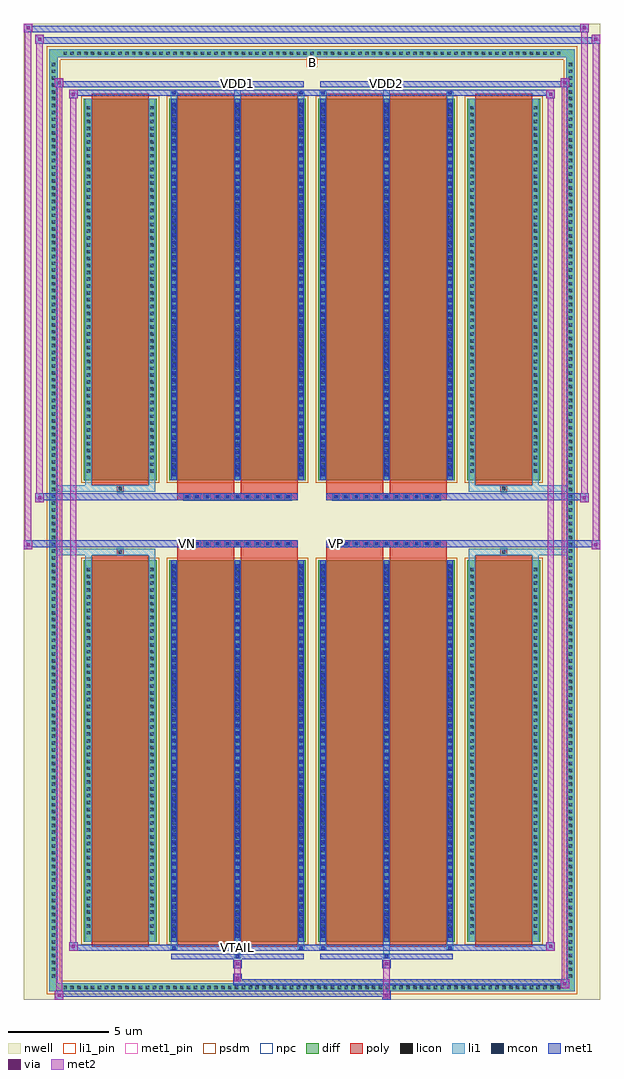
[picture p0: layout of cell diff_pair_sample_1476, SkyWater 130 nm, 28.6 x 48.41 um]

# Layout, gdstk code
import gdstk
lib = gdstk.Library(unit=1e-6, precision=5e-09)
def R(c, l, rs):  # rectangles x0, y0, x1, y1
    for r in rs: c.add(gdstk.rectangle(r[:2], r[2:], *l))
def A(c, l, x, y, w, h, nx, ny, dx, dy):  # array of equal rectangles
    R(c, l, [(x+i*dx, y+j*dy, x+i*dx+w, y+j*dy+h) for i in range(nx) for j in range(ny)])
def P(c, l, *ps):  # polygons
    for p in ps: c.add(gdstk.Polygon(p, *l))
nwell = (64, 20)
diff = (65, 20)
poly = (66, 20)
licon = (66, 44)
li1_pin = (67, 16)
li1 = (67, 20)
mcon = (67, 44)
met1_pin = (68, 16)
met1 = (68, 20)
via = (68, 44)
met2 = (69, 20)
psdm = (94, 20)
npc = (95, 20)

diff_pair_sample_1476 = lib.new_cell('diff_pair_sample_1476')
R(diff_pair_sample_1476, nwell, [(-14.3,-23.77,14.3,24.64), (-11.62,-21.96,-0.01,-0.8), (0.01,-21.96,11.62,-0.8), (-11.62,0.8,-0.01,21.96), (0.01,0.8,11.62,21.96)])
A(diff_pair_sample_1476, diff, -12.445, -23.37, 0.41, 0.41, 73, 2, 0.34, 46.33)
A(diff_pair_sample_1476, diff, -13.03, -22.815, 0.41, 0.41, 1, 134, 0, 0.34)
A(diff_pair_sample_1476, diff, 12.62, -22.815, 0.41, 0.41, 1, 134, 0, 0.34)
R(diff_pair_sample_1476, diff, [(-12.445,-23.37,12.445,-22.96), (-13.03,-22.815,-12.62,22.815), (12.62,-22.815,13.03,22.815), (-11.31,-20.915,-7.71,-1.985), (-7.07,-20.915,-0.32,-1.985), (0.32,-20.915,7.07,-1.985), (7.71,-20.915,11.31,-1.985), (-11.31,1.985,-7.71,20.915), (-7.07,1.985,-0.32,20.915), (0.32,1.985,7.07,20.915), (7.71,1.985,11.31,20.915), (-12.445,22.96,12.445,23.37)])
P(diff_pair_sample_1476, diff, [(13.03,23.37),(-13.03,23.37),(-13.03,-22.96),(-12.62,-22.96),(-12.62,22.96),(12.62,22.96),(12.62,-22.96),(-12.62,-22.96),(-13.03,-22.96),(-13.03,-23.37),(13.03,-23.37)])
A(diff_pair_sample_1476, poly, -6.36, -1.33, 0.33, 0.33, 11, 2, 0.5, 2.33)
A(diff_pair_sample_1476, poly, 1.03, -1.33, 0.33, 0.33, 11, 2, 0.5, 2.33)
R(diff_pair_sample_1476, poly, [(-10.92,-21.165,-8.1,-1.735), (-6.68,-21.165,-3.86,-1.735), (-3.53,-21.165,-0.71,-1.735), (0.71,-21.165,3.53,-1.735), (3.86,-21.165,6.68,-1.735), (8.1,-21.165,10.92,-1.735), (-9.675,-1.735,-9.345,-1.405), (-9.675,-1.735,-9.345,-1.405), (-6.68,-1.735,-3.86,-1.33), (-3.53,-1.735,-0.71,-1.33), (0.71,-1.735,3.53,-1.33), (3.86,-1.735,6.68,-1.33), (9.345,-1.735,9.675,-1.405), (9.345,-1.735,9.675,-1.405), (-6.68,-1.33,-0.71,-1), (0.71,-1.33,6.68,-1), (-6.68,1,-0.71,1.33), (0.71,1,6.68,1.33), (-6.68,1.33,-3.86,1.735), (-3.53,1.33,-0.71,1.735), (0.71,1.33,3.53,1.735), (3.86,1.33,6.68,1.735), (-9.675,1.405,-9.345,1.735), (-9.675,1.405,-9.345,1.735), (9.345,1.405,9.675,1.735), (9.345,1.405,9.675,1.735), (-10.92,1.735,-8.1,21.165), (-6.68,1.735,-3.86,21.165), (-3.53,1.735,-0.71,21.165), (0.71,1.735,3.53,21.165), (3.86,1.735,6.68,21.165), (8.1,1.735,10.92,21.165)])
A(diff_pair_sample_1476, licon, -12.325, -23.25, 0.17, 0.17, 73, 2, 0.34, 46.33)
A(diff_pair_sample_1476, licon, -12.91, -22.695, 0.17, 0.17, 1, 134, 0, 0.34)
A(diff_pair_sample_1476, licon, 12.74, -22.695, 0.17, 0.17, 1, 134, 0, 0.34)
A(diff_pair_sample_1476, licon, -11.17, -20.545, 0.17, 0.17, 1, 54, 0, 0.34)
A(diff_pair_sample_1476, licon, -8.02, -20.545, 0.17, 0.17, 1, 54, 0, 0.34)
A(diff_pair_sample_1476, licon, -6.93, -20.545, 0.17, 0.17, 3, 54, 3.15, 0.34)
A(diff_pair_sample_1476, licon, 0.46, -20.545, 0.17, 0.17, 3, 54, 3.15, 0.34)
A(diff_pair_sample_1476, licon, 7.85, -20.545, 0.17, 0.17, 1, 54, 0, 0.34)
A(diff_pair_sample_1476, licon, 11, -20.545, 0.17, 0.17, 1, 54, 0, 0.34)
A(diff_pair_sample_1476, licon, -6.28, -1.25, 0.17, 0.17, 11, 2, 0.5, 2.33)
A(diff_pair_sample_1476, licon, 1.11, -1.25, 0.17, 0.17, 11, 2, 0.5, 2.33)
A(diff_pair_sample_1476, licon, -11.17, 2.355, 0.17, 0.17, 1, 54, 0, 0.34)
A(diff_pair_sample_1476, licon, -8.02, 2.355, 0.17, 0.17, 1, 54, 0, 0.34)
A(diff_pair_sample_1476, licon, -6.93, 2.355, 0.17, 0.17, 3, 54, 3.15, 0.34)
A(diff_pair_sample_1476, licon, 0.46, 2.355, 0.17, 0.17, 3, 54, 3.15, 0.34)
A(diff_pair_sample_1476, licon, 7.85, 2.355, 0.17, 0.17, 1, 54, 0, 0.34)
A(diff_pair_sample_1476, licon, 11, 2.355, 0.17, 0.17, 1, 54, 0, 0.34)
R(diff_pair_sample_1476, licon, [(-9.595,-1.655,-9.425,-1.485), (9.425,-1.655,9.595,-1.485), (-9.595,1.485,-9.425,1.655), (9.425,1.485,9.595,1.655)])
R(diff_pair_sample_1476, li1_pin, [(-0.25,22.46,0.25,22.96)])
A(diff_pair_sample_1476, li1, -12.405, -23.33, 0.33, 0.33, 73, 2, 0.34, 46.33)
A(diff_pair_sample_1476, li1, -12.99, -22.775, 0.33, 0.33, 1, 134, 0, 0.34)
A(diff_pair_sample_1476, li1, 12.66, -22.775, 0.33, 0.33, 1, 134, 0, 0.34)
A(diff_pair_sample_1476, li1, -7.01, -20.915, 0.33, 18.93, 3, 2, 3.15, 22.9)
A(diff_pair_sample_1476, li1, 0.38, -20.915, 0.33, 18.93, 3, 2, 3.15, 22.9)
A(diff_pair_sample_1476, li1, -6.93, -20.715, 0.17, 0.17, 3, 52, 3.15, 0.36)
A(diff_pair_sample_1476, li1, -6.93, -20.715, 0.17, 18.53, 3, 2, 3.15, 22.9)
A(diff_pair_sample_1476, li1, 0.46, -20.715, 0.17, 0.17, 3, 52, 3.15, 0.36)
A(diff_pair_sample_1476, li1, 0.46, -20.715, 0.17, 18.53, 3, 2, 3.15, 22.9)
A(diff_pair_sample_1476, li1, -11.25, -20.625, 0.33, 0.33, 1, 54, 0, 0.34)
A(diff_pair_sample_1476, li1, -8.1, -20.625, 0.33, 0.33, 1, 54, 0, 0.34)
A(diff_pair_sample_1476, li1, -7.01, -20.625, 0.33, 0.33, 3, 54, 3.15, 0.34)
A(diff_pair_sample_1476, li1, 0.38, -20.625, 0.33, 0.33, 3, 54, 3.15, 0.34)
A(diff_pair_sample_1476, li1, 7.77, -20.625, 0.33, 0.33, 1, 54, 0, 0.34)
A(diff_pair_sample_1476, li1, 10.92, -20.625, 0.33, 0.33, 1, 54, 0, 0.34)
A(diff_pair_sample_1476, li1, -6.36, -1.33, 0.33, 0.33, 11, 2, 0.5, 2.33)
A(diff_pair_sample_1476, li1, 1.03, -1.33, 0.33, 0.33, 11, 2, 0.5, 2.33)
A(diff_pair_sample_1476, li1, -6.93, 2.185, 0.17, 0.17, 3, 52, 3.15, 0.36)
A(diff_pair_sample_1476, li1, 0.46, 2.185, 0.17, 0.17, 3, 52, 3.15, 0.36)
A(diff_pair_sample_1476, li1, -11.25, 2.275, 0.33, 0.33, 1, 54, 0, 0.34)
A(diff_pair_sample_1476, li1, -8.1, 2.275, 0.33, 0.33, 1, 54, 0, 0.34)
A(diff_pair_sample_1476, li1, -7.01, 2.275, 0.33, 0.33, 3, 54, 3.15, 0.34)
A(diff_pair_sample_1476, li1, 0.38, 2.275, 0.33, 0.33, 3, 54, 3.15, 0.34)
A(diff_pair_sample_1476, li1, 7.77, 2.275, 0.33, 0.33, 1, 54, 0, 0.34)
A(diff_pair_sample_1476, li1, 10.92, 2.275, 0.33, 0.33, 1, 54, 0, 0.34)
R(diff_pair_sample_1476, li1, [(-13.03,-23.37,-12.62,-22.96), (-13.03,-23.37,-12.62,-22.96), (-12.62,-23.37,12.62,-22.96), (12.62,-23.37,13.03,-22.96), (12.62,-23.37,13.03,-22.96), (-13.03,-22.96,-12.62,22.96), (12.62,-22.96,13.03,22.96), (-3.86,-21.72,-3.53,-20.915), (-3.78,-21.72,-3.61,-21.55), (3.53,-21.72,3.86,-20.915), (3.61,-21.72,3.78,-21.55), (-7.01,-21.29,-6.68,-20.915), (-6.93,-21.29,-6.76,-21.12), (-0.71,-21.29,-0.38,-20.915), (-0.63,-21.29,-0.46,-21.12), (0.38,-21.29,0.71,-20.915), (0.46,-21.29,0.63,-21.12), (6.68,-21.29,7.01,-20.915), (6.76,-21.29,6.93,-21.12), (-11.25,-20.915,-10.92,-1.985), (-8.1,-20.915,-7.77,-1.985), (7.77,-20.915,8.1,-1.985), (10.92,-20.915,11.25,-1.985), (-11.25,-1.985,-10.92,-1.405), (-8.1,-1.985,-7.77,-1.405), (7.77,-1.985,8.1,-1.405), (10.92,-1.985,11.25,-1.405), (-13.03,-1.735,-9.675,-1.405), (-11.25,-1.735,-9.675,-1.405), (-9.675,-1.735,-9.345,-1.405), (-9.345,-1.735,-7.77,-1.405), (7.77,-1.735,9.345,-1.405), (9.345,-1.735,9.675,-1.405), (9.345,-1.735,13.03,-1.405), (9.675,-1.735,11.25,-1.405), (-13.03,1.405,-9.675,1.735), (-11.25,1.405,-9.675,1.735), (-11.25,1.405,-10.92,1.985), (-9.675,1.405,-9.345,1.735), (-9.345,1.405,-7.77,1.735), (-8.1,1.405,-7.77,1.985), (7.77,1.405,9.345,1.735), (7.77,1.405,8.1,1.985), (9.345,1.405,9.675,1.735), (9.345,1.405,13.03,1.735), (9.675,1.405,11.25,1.735), (10.92,1.405,11.25,1.985), (-11.25,1.985,-10.92,20.915), (-8.1,1.985,-7.77,20.915), (7.77,1.985,8.1,20.915), (10.92,1.985,11.25,20.915), (-7.01,20.915,-6.68,21.29), (-3.86,20.915,-3.53,21.72), (-0.71,20.915,-0.38,21.29), (0.38,20.915,0.71,21.29), (3.53,20.915,3.86,21.72), (6.68,20.915,7.01,21.29), (-6.93,21.12,-6.76,21.29), (-0.63,21.12,-0.46,21.29), (0.46,21.12,0.63,21.29), (6.76,21.12,6.93,21.29), (-3.78,21.55,-3.61,21.72), (3.61,21.55,3.78,21.72), (-13.03,22.96,-12.62,23.37), (-13.03,22.96,-12.62,23.37), (-12.62,22.96,12.62,23.37), (12.62,22.96,13.03,23.37), (12.62,22.96,13.03,23.37)])
A(diff_pair_sample_1476, mcon, -6.93, -20.715, 0.17, 0.17, 3, 52, 3.15, 0.36)
A(diff_pair_sample_1476, mcon, 0.46, -20.715, 0.17, 0.17, 3, 52, 3.15, 0.36)
A(diff_pair_sample_1476, mcon, -6.28, -1.25, 0.17, 0.17, 11, 2, 0.5, 2.33)
A(diff_pair_sample_1476, mcon, 1.11, -1.25, 0.17, 0.17, 11, 2, 0.5, 2.33)
A(diff_pair_sample_1476, mcon, -6.93, 2.185, 0.17, 0.17, 3, 52, 3.15, 0.36)
A(diff_pair_sample_1476, mcon, 0.46, 2.185, 0.17, 0.17, 3, 52, 3.15, 0.36)
R(diff_pair_sample_1476, mcon, [(-3.78,-21.72,-3.61,-21.55), (3.61,-21.72,3.78,-21.55), (-6.93,-21.29,-6.76,-21.12), (-0.63,-21.29,-0.46,-21.12), (0.46,-21.29,0.63,-21.12), (6.76,-21.29,6.93,-21.12), (-6.93,21.12,-6.76,21.29), (-0.63,21.12,-0.46,21.29), (0.46,21.12,0.63,21.29), (6.76,21.12,6.93,21.29), (-3.78,21.55,-3.61,21.72), (3.61,21.55,3.78,21.72)])
R(diff_pair_sample_1476, met1_pin, [(-3.83,-21.33,-3.56,-21.06), (-6.33,-1.29,-6.06,-1.02), (1.06,-1.29,1.33,-1.02), (-3.83,21.51,-3.56,21.78), (3.56,21.51,3.83,21.78)])
A(diff_pair_sample_1476, met1, -6.99, -20.915, 0.29, 18.93, 3, 2, 3.15, 22.9)
A(diff_pair_sample_1476, met1, 0.4, -20.915, 0.29, 18.93, 3, 2, 3.15, 22.9)
A(diff_pair_sample_1476, met1, -6.99, -20.775, 0.29, 0.29, 3, 52, 3.15, 0.36)
A(diff_pair_sample_1476, met1, 0.4, -20.775, 0.29, 0.29, 3, 52, 3.15, 0.36)
A(diff_pair_sample_1476, met1, -6.34, -1.31, 0.29, 0.29, 11, 2, 0.5, 2.33)
A(diff_pair_sample_1476, met1, 1.05, -1.31, 0.29, 0.29, 11, 2, 0.5, 2.33)
A(diff_pair_sample_1476, met1, -6.99, 2.125, 0.29, 0.29, 3, 52, 3.15, 0.36)
A(diff_pair_sample_1476, met1, 0.4, 2.125, 0.29, 0.29, 3, 52, 3.15, 0.36)
R(diff_pair_sample_1476, met1, [(-12.76,-23.77,-12.33,-23.34), (3.48,-23.77,3.91,-23.34), (-12.76,-23.63,3.91,-23.34), (12.33,-23.2,12.76,-22.77), (-3.91,-23.06,12.76,-22.77), (-3.91,-22.92,-3.48,-22.49), (-3.91,-22.21,-3.48,-21.78), (3.48,-22.21,3.91,-21.78), (-6.99,-21.78,-0.4,-21.49), (-3.84,-21.78,-3.55,-21.49), (0.4,-21.78,6.99,-21.49), (3.55,-21.78,3.84,-21.49), (-12.05,-21.35,-11.62,-20.92), (-12.05,-21.35,-6.99,-21.06), (-6.99,-21.35,-6.7,-21.06), (-6.99,-21.35,-0.4,-21.06), (-0.69,-21.35,-0.4,-21.06), (-0.4,-21.35,0.4,-21.06), (0.4,-21.35,0.69,-21.06), (0.4,-21.35,6.99,-21.06), (6.7,-21.35,6.99,-21.06), (6.99,-21.35,12.05,-21.06), (11.62,-21.35,12.05,-20.92), (-14.3,-1.43,-13.87,-1), (13.87,-1.43,14.3,-1), (-14.3,-1.33,-0.71,-1), (-6.68,-1.33,-0.71,-1), (0.71,-1.33,6.68,-1), (0.71,-1.33,14.3,-1), (-13.73,0.9,-13.3,1.33), (13.3,0.9,13.73,1.33), (-13.73,1,-6.68,1.33), (-6.68,1,-0.71,1.33), (0.71,1,6.68,1.33), (6.68,1,13.73,1.33), (-12.05,20.92,-11.62,21.35), (11.62,20.92,12.05,21.35), (-12.05,21.06,-6.99,21.35), (-6.99,21.06,-6.7,21.35), (-6.99,21.06,-0.4,21.35), (-0.69,21.06,-0.4,21.35), (-0.4,21.06,0.4,21.35), (0.4,21.06,0.69,21.35), (0.4,21.06,6.99,21.35), (6.7,21.06,6.99,21.35), (6.99,21.06,12.05,21.35), (-12.76,21.49,-12.33,21.92), (-12.76,21.49,-6.99,21.78), (-6.99,21.49,-0.4,21.78), (-3.84,21.49,-3.55,21.78), (0.4,21.49,6.99,21.78), (3.55,21.49,3.84,21.78), (6.99,21.49,12.76,21.78), (12.33,21.49,12.76,21.92), (-13.73,23.64,-13.3,24.07), (-13.73,23.64,-11.62,23.97), (-11.62,23.64,11.62,23.97), (11.62,23.64,14.3,23.97), (13.87,23.64,14.3,24.07), (-14.3,24.21,-13.87,24.64), (-14.3,24.21,-11.62,24.54), (-11.62,24.21,11.62,24.54), (11.62,24.21,13.73,24.54), (13.3,24.21,13.73,24.64)])
R(diff_pair_sample_1476, via, [(-12.62,-23.63,-12.47,-23.48), (3.62,-23.63,3.77,-23.48), (12.47,-23.06,12.62,-22.91), (-3.77,-22.78,-3.62,-22.63), (-3.77,-22.07,-3.62,-21.92), (3.62,-22.07,3.77,-21.92), (-11.91,-21.21,-11.76,-21.06), (11.76,-21.21,11.91,-21.06), (-14.16,-1.29,-14.01,-1.14), (14.01,-1.29,14.16,-1.14), (-13.59,1.04,-13.44,1.19), (13.44,1.04,13.59,1.19), (-11.91,21.06,-11.76,21.21), (11.76,21.06,11.91,21.21), (-12.62,21.63,-12.47,21.78), (12.47,21.63,12.62,21.78), (-13.59,23.78,-13.44,23.93), (14.01,23.78,14.16,23.93), (-14.16,24.35,-14.01,24.5), (13.44,24.35,13.59,24.5)])
R(diff_pair_sample_1476, met2, [(-12.76,-23.77,-12.33,-23.34), (-12.69,-23.77,-12.4,21.92), (-12.4,-23.77,-12.33,-23.34), (-12.71,-23.72,-12.38,-23.39), (3.53,-23.72,3.86,-23.39), (3.53,-23.39,3.86,-22.16), (12.33,-23.2,12.76,-22.77), (12.4,-23.2,12.69,21.92), (12.69,-23.2,12.76,-22.77), (12.38,-23.15,12.71,-22.82), (-3.86,-22.87,-3.53,-22.54), (-3.86,-22.54,-3.53,-22.16), (-3.86,-22.16,-3.53,-21.83), (3.53,-22.16,3.86,-21.83), (-12.05,-21.35,-11.62,-20.92), (-11.98,-21.35,-11.69,21.35), (-11.69,-21.35,-11.62,-20.92), (11.62,-21.35,12.05,-20.92), (11.69,-21.35,11.98,21.35), (11.98,-21.35,12.05,-20.92), (-12,-21.3,-11.67,-20.97), (11.67,-21.3,12,-20.97), (-14.3,-1.43,-13.87,-1), (-14.25,-1.43,-13.92,24.64), (-13.92,-1.43,-13.87,-1), (13.87,-1.43,14.3,-1), (13.92,-1.43,14.25,24.07), (14.25,-1.43,14.3,-1), (-14.25,-1.38,-13.92,-1.05), (13.92,-1.38,14.25,-1.05), (-13.73,0.9,-13.3,1.33), (-13.68,0.9,-13.35,24.07), (-13.35,0.9,-13.3,1.33), (13.3,0.9,13.73,1.33), (13.35,0.9,13.68,24.64), (13.68,0.9,13.73,1.33), (-13.68,0.95,-13.35,1.28), (13.35,0.95,13.68,1.28), (-12.05,20.92,-11.62,21.35), (-11.69,20.92,-11.62,21.35), (11.62,20.92,12.05,21.35), (11.98,20.92,12.05,21.35), (-12,20.97,-11.67,21.3), (11.67,20.97,12,21.3), (-12.76,21.49,-12.33,21.92), (-12.4,21.49,-12.33,21.92), (12.33,21.49,12.76,21.92), (12.69,21.49,12.76,21.92), (-12.71,21.54,-12.38,21.87), (12.38,21.54,12.71,21.87), (-13.73,23.64,-13.3,24.07), (-13.35,23.64,-13.3,24.07), (13.87,23.64,14.3,24.07), (14.25,23.64,14.3,24.07), (-13.68,23.69,-13.35,24.02), (13.92,23.69,14.25,24.02), (-14.3,24.21,-13.87,24.64), (-13.92,24.21,-13.87,24.64), (13.3,24.21,13.73,24.64), (13.68,24.21,13.73,24.64), (-14.25,24.26,-13.92,24.59), (13.35,24.26,13.68,24.59)])
R(diff_pair_sample_1476, psdm, [(-11.44,-21.045,-7.58,-1.855), (-7.2,-21.045,-0.19,-1.855), (0.19,-21.045,7.2,-1.855), (7.58,-21.045,11.44,-1.855), (-11.44,1.855,-7.58,21.045), (-7.2,1.855,-0.19,21.045), (0.19,1.855,7.2,21.045), (7.58,1.855,11.44,21.045)])
P(diff_pair_sample_1476, psdm, [(13.16,23.5),(-13.16,23.5),(-13.16,-22.83),(-12.49,-22.83),(-12.49,22.83),(12.49,22.83),(12.49,-22.83),(-12.49,-22.83),(-13.16,-22.83),(-13.16,-23.5),(13.16,-23.5)])
A(diff_pair_sample_1476, npc, -6.38, -1.35, 0.37, 0.37, 11, 2, 0.5, 2.33)
A(diff_pair_sample_1476, npc, 1.01, -1.35, 0.37, 0.37, 11, 2, 0.5, 2.33)
R(diff_pair_sample_1476, npc, [(-9.695,-1.755,-9.325,-1.385), (9.325,-1.755,9.695,-1.385), (-6.38,-1.35,-5.51,-0.98), (-6.38,-1.35,-5.51,-0.98), (-5.88,-1.35,-5.01,-0.98), (-5.88,-1.35,-5.01,-0.98), (-5.38,-1.35,-4.51,-0.98), (-5.38,-1.35,-4.51,-0.98), (-4.88,-1.35,-4.01,-0.98), (-4.88,-1.35,-4.01,-0.98), (-4.38,-1.35,-3.51,-0.98), (-4.38,-1.35,-3.51,-0.98), (-3.88,-1.35,-3.01,-0.98), (-3.88,-1.35,-3.01,-0.98), (-3.38,-1.35,-2.51,-0.98), (-3.38,-1.35,-2.51,-0.98), (-2.88,-1.35,-2.01,-0.98), (-2.88,-1.35,-2.01,-0.98), (-2.38,-1.35,-1.51,-0.98), (-2.38,-1.35,-1.51,-0.98), (-1.88,-1.35,-1.01,-0.98), (-1.88,-1.35,-1.01,-0.98), (1.01,-1.35,1.88,-0.98), (1.01,-1.35,1.88,-0.98), (1.51,-1.35,2.38,-0.98), (1.51,-1.35,2.38,-0.98), (2.01,-1.35,2.88,-0.98), (2.01,-1.35,2.88,-0.98), (2.51,-1.35,3.38,-0.98), (2.51,-1.35,3.38,-0.98), (3.01,-1.35,3.88,-0.98), (3.01,-1.35,3.88,-0.98), (3.51,-1.35,4.38,-0.98), (3.51,-1.35,4.38,-0.98), (4.01,-1.35,4.88,-0.98), (4.01,-1.35,4.88,-0.98), (4.51,-1.35,5.38,-0.98), (4.51,-1.35,5.38,-0.98), (5.01,-1.35,5.88,-0.98), (5.01,-1.35,5.88,-0.98), (5.51,-1.35,6.38,-0.98), (5.51,-1.35,6.38,-0.98), (-6.38,0.98,-5.51,1.35), (-6.38,0.98,-5.51,1.35), (-5.88,0.98,-5.01,1.35), (-5.88,0.98,-5.01,1.35), (-5.38,0.98,-4.51,1.35), (-5.38,0.98,-4.51,1.35), (-4.88,0.98,-4.01,1.35), (-4.88,0.98,-4.01,1.35), (-4.38,0.98,-3.51,1.35), (-4.38,0.98,-3.51,1.35), (-3.88,0.98,-3.01,1.35), (-3.88,0.98,-3.01,1.35), (-3.38,0.98,-2.51,1.35), (-3.38,0.98,-2.51,1.35), (-2.88,0.98,-2.01,1.35), (-2.88,0.98,-2.01,1.35), (-2.38,0.98,-1.51,1.35), (-2.38,0.98,-1.51,1.35), (-1.88,0.98,-1.01,1.35), (-1.88,0.98,-1.01,1.35), (1.01,0.98,1.88,1.35), (1.01,0.98,1.88,1.35), (1.51,0.98,2.38,1.35), (1.51,0.98,2.38,1.35), (2.01,0.98,2.88,1.35), (2.01,0.98,2.88,1.35), (2.51,0.98,3.38,1.35), (2.51,0.98,3.38,1.35), (3.01,0.98,3.88,1.35), (3.01,0.98,3.88,1.35), (3.51,0.98,4.38,1.35), (3.51,0.98,4.38,1.35), (4.01,0.98,4.88,1.35), (4.01,0.98,4.88,1.35), (4.51,0.98,5.38,1.35), (4.51,0.98,5.38,1.35), (5.01,0.98,5.88,1.35), (5.01,0.98,5.88,1.35), (5.51,0.98,6.38,1.35), (5.51,0.98,6.38,1.35), (-9.695,1.385,-9.325,1.755), (9.325,1.385,9.695,1.755)])
diff_pair_sample_1476.add(gdstk.Label('VTAIL', (-3.695,-21.195), layer=68, texttype=5))
diff_pair_sample_1476.add(gdstk.Label('VN', (-6.195,-1.155), layer=68, texttype=5))
diff_pair_sample_1476.add(gdstk.Label('VP', (1.195,-1.155), layer=68, texttype=5))
diff_pair_sample_1476.add(gdstk.Label('B', (0,22.71), layer=67, texttype=5))
diff_pair_sample_1476.add(gdstk.Label('VDD2', (3.695,21.645), layer=68, texttype=5))
diff_pair_sample_1476.add(gdstk.Label('VDD1', (-3.695,21.645), layer=68, texttype=5))

lib.write_gds('diff_pair_sample_1476.gds')
